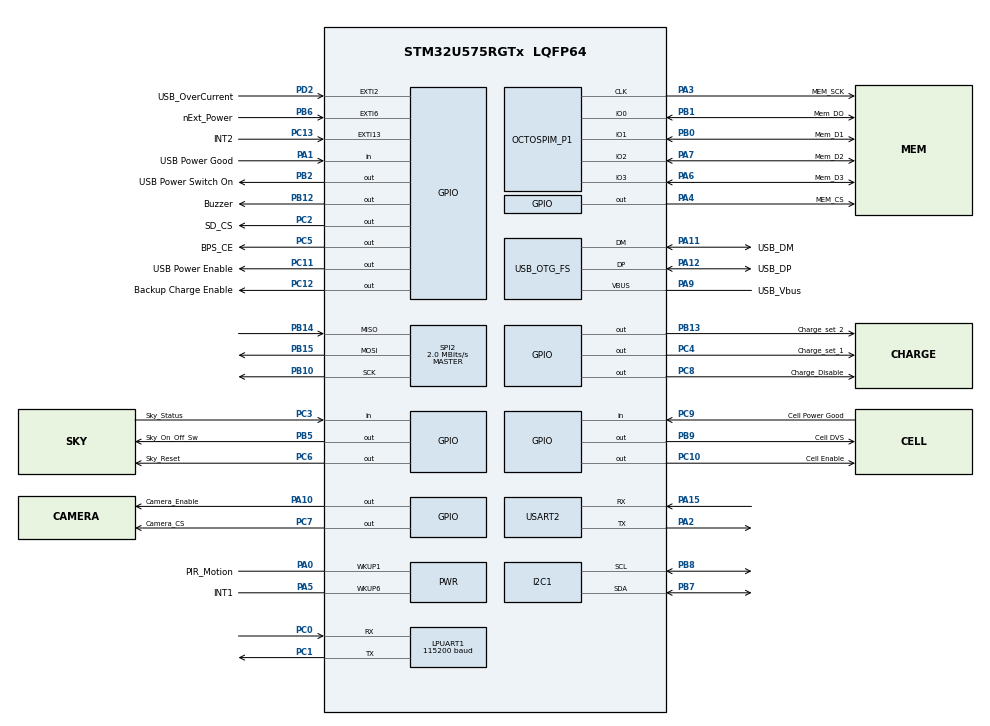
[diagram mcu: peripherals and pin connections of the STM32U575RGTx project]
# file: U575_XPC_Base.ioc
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ADC1.NbrOfConversion=1
ADC1.master=1
CORTEX_M33_NS.userName=CORTEX_M33
I2C1.Timing=0x00000E14
IWDG.Prescaler=IWDG_PRESCALER_1024
LPTIM1.Period=20
LPTIM1.TriggerSource=LPTIM_TRIGSOURCE_SOFTWARE
LPTIM1.UpdateMode=LPTIM_UPDATE_IMMEDIATE
LPTIM3.Period=PIR_Percent_Timer
LPUART1.BaudRate=115200
LPUART1.SwapParam=UART_ADVFEATURE_SWAP_DISABLE
Mcu.Family=STM32U5
Mcu.Name=STM32U575RGTx
Mcu.Package=LQFP64
Mcu.UserConstants=Time_Repetition_CNT,0xFFFF;Date_Day,2;Time_Counter,0x6FF;PIR_CD,3;Date_Minute,0;Time_PRESCALAR_Counter,0x10;Date_Hour,11;Alarm_Value,1;Date_Year,23;PIR_Percent_Timer,0xFF
NVIC.EXTI13_IRQn=true\:0\:0\:false\:false\:true\:true\:true\:true
NVIC.EXTI2_IRQn=true\:0\:0\:false\:false\:true\:true\:true\:true
NVIC.EXTI6_IRQn=true\:0\:0\:false\:false\:true\:true\:true\:true
NVIC.IWDG_IRQn=true\:0\:0\:false\:false\:true\:true\:true\:true
NVIC.LPTIM1_IRQn=true\:0\:0\:false\:false\:true\:true\:true\:true
NVIC.LPTIM2_IRQn=true\:0\:0\:false\:false\:true\:true\:true\:true
NVIC.LPTIM3_IRQn=true\:0\:0\:false\:false\:true\:true\:true\:true
NVIC.LPUART1_IRQn=true\:0\:0\:false\:false\:true\:true\:true\:true
NVIC.PWR_S3WU_IRQn=true\:0\:0\:false\:false\:true\:true\:true\:true
NVIC.PriorityGroup=NVIC_PRIORITYGROUP_4
NVIC.RTC_IRQn=true\:0\:0\:false\:false\:true\:true\:true\:true
PA0.GPIO_Label=PIR_Motion
PA0.Mode=WakeUp1
PA0.Signal=PWR_WKUP1
PA1.GPIO_Label=USB Power Good
PA1.GPIO_PuPd=GPIO_NOPULL
PA1.Signal=GPIO_Input
PA10.GPIO_Label=Camera_Enable
PA10.PinState=GPIO_PIN_SET
PA10.Signal=GPIO_Output
PA11.GPIO_Label=USB_DM
PA11.Mode=Host_Only
PA11.Signal=USB_OTG_FS_DM
PA12.GPIO_Label=USB_DP
PA12.Mode=Host_Only
PA12.Signal=USB_OTG_FS_DP
PA13\ (JTMS/SWDIO).GPIO_Label=SWDIO
PA13\ (JTMS/SWDIO).Mode=Serial_Wire
PA13\ (JTMS/SWDIO).Signal=DEBUG_JTMS-SWDIO
PA14\ (JTCK/SWCLK).GPIO_Label=SWCLK
PA14\ (JTCK/SWCLK).Mode=Serial_Wire
PA14\ (JTCK/SWCLK).Signal=DEBUG_JTCK-SWCLK
PA15\ (JTDI).Mode=Asynchronous
PA15\ (JTDI).Signal=USART2_RX
PA2.Mode=Asynchronous
PA2.Signal=USART2_TX
PA3.GPIO_Label=MEM_SCK
PA3.Mode=O1_P1_CLK
PA3.Signal=OCTOSPIM_P1_CLK
PA4.GPIO_Label=MEM_CS
PA4.GPIO_PuPd=GPIO_NOPULL
PA4.GPIO_Speed=GPIO_SPEED_FREQ_VERY_HIGH
PA4.PinState=GPIO_PIN_SET
PA4.Signal=GPIO_Output
PA5.GPIO_Label=INT1
PA5.Mode=WakeUp6
PA5.Signal=PWR_WKUP6
PA6.GPIO_Label=Mem_D3
PA6.Mode=OCTOSPI1_IOL_Port1L
PA6.Signal=OCTOSPIM_P1_IO3
PA7.GPIO_Label=Mem_D2
PA7.Mode=OCTOSPI1_IOL_Port1L
PA7.Signal=OCTOSPIM_P1_IO2
PA9.GPIO_Label=USB_Vbus
PA9.Mode=Activate_VBUS
PA9.Signal=USB_OTG_FS_VBUS
PB0.GPIO_Label=Mem_D1
PB0.Mode=OCTOSPI1_IOL_Port1L
PB0.Signal=OCTOSPIM_P1_IO1
PB1.GPIO_Label=Mem_DO
PB1.Mode=OCTOSPI1_IOL_Port1L
PB1.Signal=OCTOSPIM_P1_IO0
PB10.GPIO_PuPd=GPIO_PULLDOWN
PB10.GPIO_Speed=GPIO_SPEED_FREQ_HIGH
PB10.Mode=Full_Duplex_Master
PB10.Signal=SPI2_SCK
PB12.GPIO_Label=Buzzer
PB12.GPIO_Speed=GPIO_SPEED_FREQ_MEDIUM
PB12.Signal=GPIO_Output
PB13.GPIO_Label=Charge_set_2
PB13.GPIO_ModeDefaultOutputPP=GPIO_MODE_OUTPUT_OD
PB13.GPIO_PuPd=GPIO_NOPULL
PB13.Signal=GPIO_Output
PB14.GPIO_PuPd=GPIO_NOPULL
PB14.GPIO_Speed=GPIO_SPEED_FREQ_HIGH
PB14.Mode=Full_Duplex_Master
PB14.Signal=SPI2_MISO
PB15.GPIO_PuPd=GPIO_NOPULL
PB15.GPIO_Speed=GPIO_SPEED_FREQ_HIGH
PB15.Mode=Full_Duplex_Master
PB15.Signal=SPI2_MOSI
PB2.GPIO_Label=USB Power Switch On
PB2.GPIO_PuPd=GPIO_PULLDOWN
PB2.PinState=GPIO_PIN_SET
PB2.Signal=GPIO_Output
PB5.GPIO_Label=Sky_On_Off_Sw
PB5.PinState=GPIO_PIN_SET
PB5.Signal=GPIO_Output
PB6.GPIO_Label=nExt_Power
PB6.GPIO_ModeDefaultEXTI=GPIO_MODE_IT_RISING_FALLING
PB6.GPIO_PuPd=GPIO_NOPULL
PB6.Signal=GPXTI6
PB7.Mode=I2C
PB7.Signal=I2C1_SDA
PB8.Mode=I2C
PB8.Signal=I2C1_SCL
PB9.GPIO_FM9=SYSCFG_FASTMODEPLUS_PB9
PB9.GPIO_Label=Cell DVS
PB9.GPIO_PuPd=GPIO_NOPULL
PB9.PinState=GPIO_PIN_RESET
PB9.Signal=GPIO_Output
PC0.Mode=Asynchronous
PC0.Signal=LPUART1_RX
PC1.Mode=Asynchronous
PC1.Signal=LPUART1_TX
PC10.GPIO_Label=Cell Enable
PC10.PinState=GPIO_PIN_SET
PC10.Signal=GPIO_Output
PC11.GPIO_Label=USB Power Enable
PC11.GPIO_ModeDefaultOutputPP=GPIO_MODE_OUTPUT_PP
PC11.GPIO_PuPd=GPIO_NOPULL
PC11.PinState=GPIO_PIN_SET
PC11.Signal=GPIO_Output
PC12.GPIO_Label=Backup Charge Enable
PC12.PinState=GPIO_PIN_SET
PC12.Signal=GPIO_Output
PC13.GPIO_Label=INT2
PC13.Signal=GPXTI13
PC14-OSC32_IN\ (PC14).Mode=LSE-External-Oscillator
PC14-OSC32_IN\ (PC14).Signal=RCC_OSC32_IN
PC15-OSC32_OUT\ (PC15).Mode=LSE-External-Oscillator
PC15-OSC32_OUT\ (PC15).Signal=RCC_OSC32_OUT
PC2.GPIO_Label=SD_CS
PC2.PinState=GPIO_PIN_SET
PC2.Signal=GPIO_Output
PC3.GPIO_Label=Sky_Status
PC3.Signal=GPIO_Input
PC4.GPIO_Label=Charge_set_1
PC4.GPIO_ModeDefaultOutputPP=GPIO_MODE_OUTPUT_OD
PC4.GPIO_PuPd=GPIO_NOPULL
PC4.Signal=GPIO_Output
PC5.GPIO_Label=BPS_CE
PC5.GPIO_PuPd=GPIO_PULLDOWN
PC5.GPIO_Speed=GPIO_SPEED_FREQ_LOW
PC5.Signal=GPIO_Output
PC6.GPIO_Label=Sky_Reset
PC6.Signal=GPIO_Output
PC7.GPIO_Label=Camera_CS
PC7.GPIO_PuPd=GPIO_NOPULL
PC7.GPIO_Speed=GPIO_SPEED_FREQ_HIGH
PC7.PinState=GPIO_PIN_SET
PC7.Signal=GPIO_Output
PC8.GPIO_Label=Charge_Disable
PC8.PinState=GPIO_PIN_SET
PC8.Signal=GPIO_Output
PC9.GPIO_Label=Cell Power Good
PC9.GPIO_PuPd=GPIO_PULLUP
PC9.Signal=GPIO_Input
PD2.GPIO_Label=USB_OverCurrent
PD2.GPIO_ModeDefaultEXTI=GPIO_MODE_IT_FALLING
PD2.GPIO_PuPd=GPIO_PULLUP
PD2.Signal=GPXTI2
PWR.DMA2DPowerDownInStopMode=__NULL
PWR.Dcache1PowerDownInStopMode=__NULL
PWR.IcachePowerDownInStopMode=__NULL
PWR.PKA32RAMPowerDownInStopMode=__NULL
PWR.PeriphPowerDownInStopMode=__NULL
PWR.RAM1Page1PowerDownInStopMode=__NULL
PWR.RAM1Page2PowerDownInStopMode=__NULL
PWR.RAM1Page3PowerDownInStopMode=__NULL
PWR.RAM2Page1PowerDownInStopMode=__NULL
PWR.RAM2Page2PowerDownInStopMode=__NULL
PWR.RAM3Page1PowerDownInStopMode=__NULL
PWR.RAM3Page2PowerDownInStopMode=__NULL
PWR.RAM3Page3PowerDownInStopMode=__NULL
PWR.RAM3Page4PowerDownInStopMode=__NULL
PWR.RAM3Page5PowerDownInStopMode=__NULL
PWR.RAM3Page6PowerDownInStopMode=__NULL
PWR.RAM3Page7PowerDownInStopMode=__NULL
PWR.RAM3Page8PowerDownInStopMode=__NULL
PWR.SRAM4FastDownInRunMode=__NULL
PWR.SRAM4PowerDownInStopMode=__NULL
PWR.pwrPrivilege=PWR_PRIVILEGE_YES
ProjectManager.HeapSize=0x200
ProjectManager.StackSize=0x400
ProjectManager.TargetToolchain=STM32CubeIDE
RCC.ADCFreq_Value=16000000
RCC.DACCLockSelectionVirtual=RCC_DAC1CLKSOURCE_LSI
RCC.EPOD_VALUE=4000000
RCC.HSE_VALUE=16000000
RCC.HSI48_VALUE=48000000
RCC.HSI_VALUE=16000000
RCC.LSIDIV_VALUE=32000
RCC.MSI_VALUE=4000000
RCC.PWR_Regulator_Voltage_Scale=PWR_REGULATOR_VOLTAGE_SCALE3
RCC.USBFreq_Value=48000000
RCC.VCOOutputFreq_Value=516000000
RTC.Alarm-Alarm\ A=RTC_ALARM_A
RTC.AlarmDateWeekDaySel_B-Alarm\ B=RTC_ALARMDATEWEEKDAYSEL_WEEKDAY
RTC.AlarmMaskDateWeekDay-Alarm\ A=RTC_ALARMMASK_DATEWEEKDAY
RTC.AlarmMaskDateWeekDay_B-Alarm\ B=RTC_ALARMMASK_DATEWEEKDAY
RTC.AlarmMaskHours_B-Alarm\ B=RTC_ALARMMASK_HOURS
RTC.AlarmMaskSeconds-Alarm\ A=RTC_ALARMMASK_SECONDS
RTC.Alarm_B-Alarm\ B=RTC_ALARM_B
RTC.Date=30
RTC.Hours_A-Alarm\ A=1
RTC.Minutes=0
RTC.Minutes_A-Alarm\ A=0
RTC.Minutes_B-Alarm\ B=3
RTC.Month=RTC_MONTH_AUGUST
RTC.WeekDay=RTC_WEEKDAY_WEDNESDAY
RTC.Year=23
SPI2.BaudRatePrescaler=SPI_BAUDRATEPRESCALER_2
SPI2.CalculateBaudRate=2.0 MBits/s
SPI2.DataSize=SPI_DATASIZE_8BIT
SPI2.Direction=SPI_DIRECTION_2LINES
SPI2.MasterKeepIOState=SPI_MASTER_KEEP_IO_STATE_ENABLE
SPI2.Mode=SPI_MODE_MASTER
SPI2.NSSPMode=SPI_NSS_PULSE_DISABLE
SPI2.ReadyPolarity=SPI_RDY_POLARITY_LOW
SPI2.VirtualType=VM_MASTER
USART2.VirtualMode-Asynchronous=VM_ASYNC
USB_OTG_FS.VirtualMode=Host_Only
USB_OTG_FS.phy_itface=HCD_PHY_EMBEDDED
VP_ADC1_Vbat_Input.Mode=IN-Vbat
VP_ADC1_Vref_Input.Mode=IN-Vrefint
VP_CRC_VS_CRC.Mode=CRC_Activate
VP_ICACHE_VS_ICACHE.Mode=DirectMappedCache
VP_IWDG_VS_IWDG.Mode=IWDG_Activate
VP_LPBAMQUEUE_VS_QUEUE.Mode=QUEUEMODE
VP_LPBAM_VS_SIG1.Mode=SmartRun
VP_LPBAM_VS_SIG4.Mode=LPDMA1
VP_LPTIM1_VS_LPTIM_counterModeInternalClock.Mode=Counts__internal_clock_event_00
VP_LPTIM2_VS_LPTIM_counterModeInternalClock.Mode=Counts__internal_clock_event_00
VP_LPTIM3_VS_LPTIM_counterModeInternalClock.Mode=Counts__internal_clock_event_00
VP_MEMORYMAP_VS_MEMORYMAP.Mode=CurAppReg
VP_OCTOSPI1_VS_quad.Mode=quad_mode
VP_PWR_VS_DBSignals.Mode=DisableDeadBatterySignals
VP_PWR_VS_LPOM.Mode=PowerOptimisation
VP_PWR_VS_SECSignals.Mode=Security/Privilege
VP_PWR_Vdda.Mode=isolationVdda
VP_RTC_VS_RTC_Activate.Mode=RTC_Enabled
VP_RTC_VS_RTC_Alarm_A_Intern.Mode=Alarm A
VP_RTC_VS_RTC_Alarm_B_Intern.Mode=Alarm B
VP_RTC_VS_RTC_Calendar.Mode=RTC_Calendar
VP_RTC_VS_RTC_WakeUp_intern.Mode=WakeUp
board=custom

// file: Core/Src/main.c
/* USER CODE BEGIN Header */
/**
 ******************************************************************************
 * @file           : main.c
 * @brief          : Main program body
 ******************************************************************************
 * @attention
 *
 * Copyright (c) 2024 STMicroelectronics.
 * All rights reserved.
 *
 * This software is licensed under terms that can be found in the LICENSE file
 * in the root directory of this software component.
 * If no LICENSE file comes with this software, it is provided AS-IS.
 *
 ******************************************************************************
 */
/* USER CODE END Header */
#include "main.h"

/* USER CODE BEGIN Includes */

#include "Functions.h"
#include "Bootloader.h"
#include <stdio.h>
#include <string.h>
/* USER CODE END Includes */

ADC_HandleTypeDef hadc1;

CRC_HandleTypeDef hcrc;

I2C_HandleTypeDef hi2c1;

IWDG_HandleTypeDef hiwdg;

LPTIM_HandleTypeDef hlptim1;
LPTIM_HandleTypeDef hlptim2;
LPTIM_HandleTypeDef hlptim3;

UART_HandleTypeDef hlpuart1;
UART_HandleTypeDef huart2;

OSPI_HandleTypeDef hospi1;

RTC_HandleTypeDef hrtc;

SPI_HandleTypeDef hspi2;

HCD_HandleTypeDef hhcd_USB_OTG_FS;

/* USER CODE BEGIN PV */

MEM_PTR memory;
bool latencyMin = false;
bool cameraPower = false;
extern bool gpsError;
extern bool accelTrigger;
extern bool triggerSource;

/* USER CODE END PV */

void SystemClock_Config(void);
static void SystemPower_Config(void);
void MX_GPIO_Init(void);
void MX_ADC1_Init(void);
void MX_I2C1_Init(void);
void MX_OCTOSPI1_Init(void);
void MX_USART2_UART_Init(void);
void MX_USB_OTG_FS_HCD_Init(void);
void MX_SPI2_Init(void);
void MX_ICACHE_Init(void);
void MX_LPUART1_UART_Init(void);
void MX_IWDG_Init(void);
void MX_RTC_Init(void);
void MX_LPTIM1_Init(void);
void MX_CRC_Init(void);
void MX_LPTIM2_Init(void);
void MX_LPTIM3_Init(void);

/* USER CODE BEGIN 0 */
int buildMesTester ( char *outputBuff , char *inputBuff );
/* USER CODE END 0 */

int main(void)
{

	/* USER CODE BEGIN 1 */

//	int kevin = FLASH_SIZE;
//	int bankSize_maybe = FLASH_BANK_SIZE;
	// 1 megabyte (MB) is equal
	// to 1,024 kilobytes (KB) or 1,048,576 bytes

	// Flash.Image max index is 32511 (0 to 32511)

	// We have approx. 52 packets with 3400 bytes
	// reduce by 1.3 for B64 decode 136 000

	// so we need to either increase Flash.Image or partition out the
	// bootloader code
//
//	uint32_t Addr = ((uint32_t)0x08000000);
//	uint32_t Addr2 = ((uint32_t)0x08080000);
//	uint32_t Page;
//	int bank;
//
//	//	uint32_t GetPage ( uint32_t Addr )
//	//	{
//	if (Addr < (FLASH_BASE + FLASH_BANK_SIZE))
//	{ /* Bank 1 */
//		Page = ((Addr - FLASH_BASE) / FLASH_PAGE_SIZE);
//	}
//	else
//	{ /* Bank 2 */
//		Page = ((Addr - (FLASH_BASE + FLASH_BANK_SIZE)) / FLASH_PAGE_SIZE);
//	}
//	//	}
//	//		uint32_t GetBank ( uint32_t Addr )
//	//		{
//	if (Addr < ADDR_FLASH_PAGE_64)
//	{
//		bank = FLASH_BANK_1;
//	}
//	else if (Addr >= ADDR_FLASH_PAGE_64)
//	{
//		bank =  FLASH_BANK_2;
//	}
//	else
//	{
//		bank =  FLASH_BANK_1;
//	}

	bool codeTest = false;
	if (codeTest)
	{

		//		if (0) // Image
		//		{
		//			//AT+QMTRECV=0
		//			//+QMTRECV: 0,1,"sensors/mobile_device/4522052/downlink","{"type":"image_ack_v0","dev_id":"4522052","img_id":"08_03_2023__00_02_02-219","total_pages":12,"pages_missing":[],"pages_received":[1,2,3,4,5,6,7,8,9,10,11,12]}"
		//
		//			uint8_t recCode [] = "AT+QMTRECV=0\r\n\0+QMTRECV: 0,1,\"sensors/mobile_device/4522052/downlink\",\"{\"type\":\"image_ack_v0\",\"dev_id\":\"4522052\",\"img_id\":\"08_03_2023__00_02_02-219\",\"total_pages\":12,\"pages_missing\":[],\"pages_received\":[1,2,3,4,5,6,7,8,9,10,11,12]}\"";
		//			char testString [1000] = "";
		//			//strncpy(testString, (char*)Memory, receivedDataSize);
		//			// alternatively we can loop around strncpy and look for target
		//			int counter;
		//			int nonNullCounter = 0;
		//			// remove
		//			uint16_t receivedDataSize = 300;
		//			uint16_t resendPages[100];
		//			uint16_t missingPagesCount = 0;
		//			for (counter = 0; counter < receivedDataSize; counter++)
		//			{
		//				if (recCode[counter]!='\0')
		//				{
		//					testString[nonNullCounter]= recCode[counter];
		//					nonNullCounter++;
		//				}
		//			}
		//			// Psudo code
		//			// look for image_ack_v0 version number
		//			// implement switch on version number
		//			// look for pages missing and put [] string into array of uint16_t
		//			bool isError = false;
		//			missingPagesCount = 0;
		//			char target[] = "image_ack_v0";
		//			char *p = strstr(testString, target);
		//			char *missingPages;
		//			if (p)
		//				// string exists
		//				// use strstr to copy missing pages to a string along with the rest of the line
		//				missingPages = strstr(testString, "s_missing");
		//			else
		//			{
		//				// not found
		//				isError = true;
		//				return isError;
		//			}
		//			int start;
		//			int end;
		//			start = strcspn(missingPages, "[");
		//			end = strcspn(missingPages, "]");
		//			char missingList[1000]= "";
		//			int length = end-start;
		//			// check for no pages
		//			if (length==1)
		//			{
		//				// no missing pages
		//				//*numberofMissingPages = 0;
		//				length = 0; // just for breakpoint
		//			}
		//			else
		//			{
		//				// Using strncpy function to copy the substring
		//				strncpy(missingList,missingPages+(start+1),end-start-1);
		//				// now put in array
		//				char* token;
		//				char* rest = missingList;
		//				while ((token = strtok_r(rest, ",", &rest)))
		//				{
		//					resendPages[missingPagesCount] = atoi(token);
		//					missingPagesCount++;
		//				}
		//			}
		//			nonNullCounter++;
		//		}
		//		else  // B64 decoding
		//		{
		//			unsigned char b64Code1 [] = "f0VMRgEBAQAAAAAAAAAAAAIAKAABAAAAHdoACDQAAADQDCcAAAQABTQAIAAEACgAGAAXAAEAAAAAEAAAAAAACAAAAAgs9AEALPQBAAcAAAAAEAAAAQAAAAAQAgAAAAAgLPQBCDwCAAA8AgAABgAAAAAQAAABAAAAQAIAAEACACBo9gEIAAAAAECHAwAGAAAAABAAAAEAAACACQAAgIkDIGj2AQg=";
		//			// text		//"U2Vuc2l0aXZpdHkgZGVzY3JpYmVzIHRoZSBnYWluIG9mIHRoZSBzZW5zb3IgYW5kIGNhbiBiZSBkZXRlcm1pbmVkIGJ5IGFwcGx5aW5nIDEgZyBhY2NlbGVyYXRpb24gdG8gaXQuIEFzIHRoZSBzZW5zb3IgY2FuIG1lYXN1cmUgREMgYWNjZWxlcmF0aW9ucyB0aGlzIGNhbiBiZSBkb25lIGVhc2lseSBieSBwb2ludGluZyB0aGUgYXhpcyBvZiBpbnRlcmVzdCB0b3dhcmRzIHRoZSBjZW50ZXIgb2YgdGhlIEVhcnRoLCBub3RpbmcgdGhlIG91dHB1dCB2YWx1ZSwgcm90YXRpbmcgdGhlIHNlbnNvciBieSAxODAgZGVncmVlcyAocG9pbnRpbmcgdG8gdGhlIHNreSkgYW5kIG5vdGluZyB0aGUgb3V0cHV0IHZhbHVlIGFnYWluLiBCeSBkb2luZyBzbywgwrExIGcgYWNjZWxlcmF0aW9uIGlzIGFwcGxpZWQgdG8gdGhlIHNlbnNvci4gU3VidHJhY3RpbmcgdGhlIGxhcmdlciBvdXRwdXQgdmFsdWUgZnJvbSB0aGUgc21hbGxlciBvbmUsIGFuZCBkaXZpZGluZyB0aGUgcmVzdWx0IGJ5IDIsIGxlYWRzIHRvIHRoZSBhY3R1YWwgc2Vuc2l0aXZpdHkgb2YgdGhlIHNlbnNvci4gVGhpcyB2YWx1ZSBjaGFuZ2VzIHZlcnkgbGl0dGxlIG92ZXIgdGVtcGVyYXR1cmUgYW5kIHRpbWUuIFRoZSBzZW5zaXRpdml0eSB0b2xlcmFuY2UgZGVzY3JpYmVzIHRoZSByYW5nZSBvZiBzZW5zaXRpdml0aWVzIG9mIGEgbGFyZ2UgcG9wdWxhdGlvbiBvZiBzZW5zb3JzLg==";
		//			// hex "f0VMRgEBAQAAAAAAAAAAAAIAKAABAAAAHdoACDQAAADQDCcAAAQABTQAIAAEACgAGAAXAAEAAAAAEAAAAAAACAAAAAgs9AEALPQBAAcAAAAAEAAAAQAAAAAQAgAAAAAgLPQBCDwCAAA8AgAABgAAAAAQAAABAAAAQAIAAEACACBo9gEIAAAAAECHAwAGAAAAABAAAAEAAACACQAAgIkDIGj2AQg="
		//
		//			int lengthB64 = strlen(b64Code1);
		//			unsigned char deCodeString [1000] = "";
		//			size_t decodedLength = 1000;
		//			decodedLength =  onTheFlyDcodeBase64( b64Code1, deCodeString, lengthB64);
		//
		//			//base64_decode ( deCodeString , &decodedLength , (const unsigned char*) b64Code1, 950 );
		//
		//			kevin= (int)decodedLength;
		//
		//		}
	}

	/* USER CODE END 1 */

	/* MCU Configuration--------------------------------------------------------*/

	/* Reset of all peripherals, Initializes the Flash interface and the Systick. */
	HAL_Init();

	/* Configure the system clock */
	SystemClock_Config();

	/* Configure the System Power */
	SystemPower_Config();

	/* USER CODE BEGIN SysInit */

	//PWR->CR1 |= PWR_CR1_LPMS;  // Enable the backup domain

	/* USER CODE END SysInit */

	/* Initialize all configured peripherals */
	MX_GPIO_Init();
	MX_ADC1_Init();
	MX_I2C1_Init();
	MX_OCTOSPI1_Init();
	MX_USART2_UART_Init();
	MX_USB_OTG_FS_HCD_Init();
	MX_SPI2_Init();
	//  MX_ICACHE_Init();
	MX_LPUART1_UART_Init();
	MX_IWDG_Init();
	MX_RTC_Init();
	//  MX_LPTIM1_Init();
	MX_CRC_Init();
	//  MX_LPTIM2_Init();
	//  MX_LPTIM3_Init();
	/* USER CODE BEGIN 2 */

	HAL_Delay ( 3000 ); // kcs moved 3 seconds from main loop to here
	if (codeTest)
	{
		// testing loop
			for (int counter = 0; counter < 40; counter++)
			{
				if(chargeCableReading())
					PRINTF("Plugged in\r\n");
				else
					PRINTF("UnPlugged\r\n");
				HAL_Delay(3000);
				Refresh_Watchdog;
			}

			codeTest = false;

		//	char kevinBuff[20] = {""};
		//	int testing = snprintf(kevinBuff, 20, "123456789012345678901234567890");
		//	PRINTF("%s\r\n",kevinBuff);
		//	testing = sprintf(kevinBuff,"123456789012345678901234567890");
		//	PRINTF("%s\r\n",kevinBuff);

		//	  while (1)
		//	  {
		//		     HAL_PWR_EnableBkUpAccess();
		//		    __HAL_RCC_PWR_CLK_ENABLE();
		//		     __HAL_RCC_RTC_CONFIG(RCC_RTCCLKSOURCE_LSE);
		//		     __HAL_RCC_RTC_ENABLE();
		//
		// 	      HAL_GPIO_WritePin(GPIOB, GPIO_PIN_12, GPIO_PIN_SET);
		//	      HAL_Delay(1000);
		//	      HAL_GPIO_WritePin(GPIOB, GPIO_PIN_12, GPIO_PIN_RESET);
		//
		//
		//	      HAL_RTCEx_SetWakeUpTimer_IT(&hrtc, 0x1803, RTC_WAKEUPCLOCK_RTCCLK_DIV16, 0);
		//
		//			if (__HAL_RTC_GET_FLAG(&hrtc, RTC_FLAG_WUTF))
		//					{
		//				PRINTF("pluggington\r\n");
		//
		//					}
		//
		//		      HAL_RTCEx_DeactivateWakeUpTimer(&hrtc);
		//				__HAL_RTC_CLEAR_FLAG(&hrtc,RTC_CLEAR_WUTF );
		//				__HAL_RTC_WAKEUPTIMER_CLEAR_FLAG(&hrtc,RTC_CLEAR_WUTF );
		//
		//				if (__HAL_RTC_GET_FLAG(&hrtc, RTC_FLAG_WUTF))
		//						{
		//					PRINTF("pluggington\r\n");
		//
		//						}
		//
		//          HAL_SuspendTick();
		//
		//	      /* Enter STOP 2 mode */
		//			HAL_PWREx_EnableUltraLowPowerMode ();
		//	        HAL_NVIC_EnableIRQ(RTC_IRQn);
		//
		//	      HAL_PWREx_EnterSTOP3Mode(PWR_STOPENTRY_WFE);
		//	      HAL_RTCEx_DeactivateWakeUpTimer(&hrtc);
		//	      SystemClock_Config();
		//	      MX_GPIO_Init();
		//	      MX_RTC_Init();
		//
		//
		//	   HAL_ResumeTick();
		//	  }
	}

#ifdef DEV_INIT

	//buzzerTone();  //for production testing we will need a buzzer function

	//	HAL_NVIC_DisableIRQ ( PIR_EXTI_IRQn );	// Turn off event
	//Need to add FW version KCS

	/* Clears Memory for Use */
	PACKAGE_Init(&memory);

	char fwVersion[] = "XPM_Rev3_V1.0.2";

	// KCS change this in future to some sort of preprogrammed memory
	PRINTF("Firmware version is %s\r\n",fwVersion);

	//	Boot Bank
	memory.Flash.currentFlashBank = getSwapBank();
	PRINTF("Current Program Bank is %d\r\n",(uint8_t)memory.Flash.currentFlashBank );

	bool connorTest = false;
	if(connorTest)
	{
		//		TIME_DATE_TYPE current;
		//		TIME_DATE_TYPE stop;
		//		calculateNextTime(&current, &stop, 7200);
		//		uint32_t diff = getTimeDifference(current, stop);
		//		PRINTF("Time difference: %u\r\n", diff);
		//		HAL_Delay(20000);
		//		uint16_t diffNow = getTimeFromNow(stop);
		//		PRINTF("Time difference from now: %u\r\n", diffNow);
	}

	/* Initializes Device Logger */
#ifdef Log
	LOG_Init ();
	Log_Single ( LOG_START );
#endif // Log

	//	Disable_Extra_Power ( &memory );
	/* Initializes Any Component Connected */
	Component_Initalizer ( &memory );

	//	if (latencyMin)
	//	{
	//		Enable_Modem (&memory);
	//		memory.Init_Flags = CELL_INIT;
	//		Component_Initalizer ( &memory );
	//	}

	//	int memoryTest = 0;
	//	if (memoryTest)
	//	{
	//		memoryTest1(&memory ); // set all to 0x11
	//
	//		XPS_paramStore(&memory);
	//
	//		memoryTest2(&memory ); // set all to 0xf
	//
	//		XPS_paramRetrieve(&memory);
	//
	//	}

	if (isWaitingforOTA( &memory))
	{
		Enable_Modem(&memory);
		PRINTF("Waiting For OTA\r\n");
		setOTAfwAvailable(false); // clear OTA
		// call OTA process
		processQuickOTA( &memory );
	}

	Enable_Modem(&memory);
	PRINTF("Device configuration sending to server\r\n");
	sendDeviceConfig(&memory, BOOT);
	Clear_Memory(&memory);
	triggerSource = true;
	HAL_Delay(3000);
	if(gpsError)
	{
		PRINTF("GPS error, sending diagnostic to server\r\n");
		sendDiagnostic(&memory, "\"gps\":[\"time_sync_failed\",\"unknown_location\"]");
		//sendDiagnostic(&memory, "\"time_sync_failed\",\"unknown_location\"");

	}
// KCS Diagnostic message testing
//	Refresh_Watchdog;
//	sendBatteryStatus(BAT_FULL);
//	Refresh_Watchdog;
//	sendBatteryStatus(BAT_CHARGING);
//	Refresh_Watchdog;
//	sendBatteryStatus(CHARGER_UNPLUGGED);
//	Refresh_Watchdog;
//	sendBatteryStatus(6);
//	Refresh_Watchdog;

#ifdef EXTERNAL_XPS_STORAGE
	//	XPS_DATA_Init ( &memory , &XPS );
#endif // EXTERNAL_XPS_STORAGE

#ifndef BUZZER
	HAL_GPIO_TogglePin ( Buzzer_GPIO_Port , Buzzer_Pin );
	HAL_Delay ( BUZZER_TIME );
	HAL_GPIO_TogglePin ( Buzzer_GPIO_Port , Buzzer_Pin );
#endif
#endif  // DEV_INIT

	/* USER CODE END 2 */

	/* Infinite loop */
	/* USER CODE BEGIN WHILE */
	while (1)
	{ /* IWDG Timer Restart */
		Refresh_Watchdog;

		HAL_Delay ( 2000 );
		//		memory.State = WAKE_STATE + PIC_UPDT + PIC_SAVE + BUZZER_TOGGLE;
		//		memory.State = WAKE_STATE + PIC_UPDT + PIC_SAVE + UPDATE_SERVER + PIC_SEND + BUZZER_TOGGLE;
		//		memory.State = SLEEP_STATE + PIC_UPDT + PIC_SAVE + UPDATE_SERVER + PIC_SEND + BUZZER_TOGGLE;

		Refresh_Watchdog;

		if (Dev_Mode == DEV_Mode_A || Dev_Mode == DEV_Mode_C)
		{ /* Check if any Flag has Triggered */
			Update_State ( &memory );
		}

		if (Dev_Mode == DEV_Mode_B)
		{ /* Initializes Any Component at Fault */
			Component_Initalizer ( &memory );
			Dev_Mode = Dev_Prev_Mode;
		}

		/* USER CODE END WHILE */

	}
}

void SystemClock_Config(void)
{
	RCC_OscInitTypeDef RCC_OscInitStruct = {0};
	RCC_ClkInitTypeDef RCC_ClkInitStruct = {0};

	/** Configure the main internal regulator output voltage
	 */
	if (HAL_PWREx_ControlVoltageScaling(PWR_REGULATOR_VOLTAGE_SCALE3) != HAL_OK)
	{
		Error_Handler();
	}

	/** Initializes the CPU, AHB and APB buses clocks
	 */

	RCC_OscInitStruct.OscillatorType = 	RCC_OSCILLATORTYPE_LSE;
	RCC_OscInitStruct.LSEState = RCC_LSE_ON;
	//	RCC_OscInitStruct.OscillatorType = RCC_OSCILLATORTYPE_HSI48|RCC_OSCILLATORTYPE_HSI
	//			|RCC_OSCILLATORTYPE_LSI|RCC_OSCILLATORTYPE_MSI
	//			|RCC_OSCILLATORTYPE_MSIK;
	//	RCC_OscInitStruct.HSIState = RCC_HSI_ON;
	//	RCC_OscInitStruct.HSI48State = RCC_HSI48_ON;
	//	RCC_OscInitStruct.HSICalibrationValue = RCC_HSICALIBRATION_DEFAULT;
	//	RCC_OscInitStruct.LSIState = RCC_LSI_ON;
	//	RCC_OscInitStruct.MSIState = RCC_MSI_ON;
	//	RCC_OscInitStruct.MSICalibrationValue = RCC_MSICALIBRATION_DEFAULT;
	//	RCC_OscInitStruct.MSIClockRange = RCC_MSIRANGE_4;
	//	RCC_OscInitStruct.LSIDiv = RCC_LSI_DIV1;
	//	RCC_OscInitStruct.MSIKClockRange = RCC_MSIKRANGE_4;
	//	RCC_OscInitStruct.MSIKState = RCC_MSIK_ON;
	//	RCC_OscInitStruct.PLL.PLLState = RCC_PLL_NONE;
	if (HAL_RCC_OscConfig(&RCC_OscInitStruct) != HAL_OK)
	{
		Error_Handler();
	}

	/** Initializes the CPU, AHB and APB buses clocks
	 */
	RCC_ClkInitStruct.ClockType = RCC_CLOCKTYPE_HCLK|RCC_CLOCKTYPE_SYSCLK
			|RCC_CLOCKTYPE_PCLK1|RCC_CLOCKTYPE_PCLK2
			|RCC_CLOCKTYPE_PCLK3;
	RCC_ClkInitStruct.SYSCLKSource = RCC_SYSCLKSOURCE_MSI;
	RCC_ClkInitStruct.AHBCLKDivider = RCC_SYSCLK_DIV1;
	RCC_ClkInitStruct.APB1CLKDivider = RCC_HCLK_DIV1;
	RCC_ClkInitStruct.APB2CLKDivider = RCC_HCLK_DIV1;
	RCC_ClkInitStruct.APB3CLKDivider = RCC_HCLK_DIV1;

	if (HAL_RCC_ClockConfig(&RCC_ClkInitStruct, FLASH_LATENCY_0) != HAL_OK)
	{
		Error_Handler();
	}

	/** Enable the force of MSIK in stop mode
	 */
	//	__HAL_RCC_MSIKSTOP_ENABLE();
}

/**
 * @brief Power Configuration
 * @retval None
 */
static void SystemPower_Config(void)
{
	/*
	 * Disable the internal Pull-Up in Dead Battery pins of UCPD peripheral
	 */
	HAL_PWREx_DisableUCPDDeadBattery();

	/*
	 * PWR Privilege Configuration
	 */
	HAL_PWR_ConfigAttributes(PWR_ALL, PWR_NSEC_PRIV);
	/* PWR_S3WU_IRQn interrupt configuration */
	// Critical do not change
	HAL_NVIC_SetPriority(PWR_S3WU_IRQn, 1, 0);
	HAL_NVIC_EnableIRQ(PWR_S3WU_IRQn);
	/* USER CODE BEGIN PWR */
	//  HAL_NVIC_SetPriority(RTC_IRQn, 0, 0);
	//  HAL_NVIC_EnableIRQ(RTC_IRQn);
	/* USER CODE END PWR */
}

void MX_ADC1_Init(void)
{

	/** Common config
	 */
	hadc1.Instance = ADC1;
	hadc1.Init.ClockPrescaler = ADC_CLOCK_ASYNC_DIV1;
	hadc1.Init.Resolution = ADC_RESOLUTION_12B;
	hadc1.Init.GainCompensation = 0;
	hadc1.Init.ScanConvMode = ADC_SCAN_DISABLE;
	hadc1.Init.EOCSelection = ADC_EOC_SINGLE_CONV;
	hadc1.Init.LowPowerAutoWait = DISABLE;
	hadc1.Init.ContinuousConvMode = DISABLE;
	hadc1.Init.NbrOfConversion = 1;
	hadc1.Init.DiscontinuousConvMode = DISABLE;
	hadc1.Init.DMAContinuousRequests = DISABLE;
	hadc1.Init.TriggerFrequencyMode = ADC_TRIGGER_FREQ_HIGH;
	hadc1.Init.Overrun = ADC_OVR_DATA_PRESERVED;
	hadc1.Init.LeftBitShift = ADC_LEFTBITSHIFT_NONE;
	hadc1.Init.ConversionDataManagement = ADC_CONVERSIONDATA_DR;
	hadc1.Init.OversamplingMode = DISABLE;
	if (HAL_ADC_Init(&hadc1) != HAL_OK)
	{
		Error_Handler();
	}
	/* USER CODE BEGIN ADC1_Init 2 */
	ADC_ChannelConfTypeDef sConfig = {0};

	sConfig.Channel = ADC_CHANNEL_VREFINT;
	sConfig.Rank = ADC_REGULAR_RANK_1;
	sConfig.SamplingTime = ADC_SAMPLETIME_391CYCLES;
	sConfig.Offset = 0;
	HAL_ADC_ConfigChannel(&hadc1, &sConfig);

	/* USER CODE END ADC1_Init 2 */
}

void MX_CRC_Init(void)
{

	hcrc.Instance = CRC;
	hcrc.Init.DefaultPolynomialUse = DEFAULT_POLYNOMIAL_ENABLE;
	hcrc.Init.DefaultInitValueUse = DEFAULT_INIT_VALUE_ENABLE;
	hcrc.Init.InputDataInversionMode = CRC_INPUTDATA_INVERSION_NONE;
	hcrc.Init.OutputDataInversionMode = CRC_OUTPUTDATA_INVERSION_DISABLE;
	hcrc.InputDataFormat = CRC_INPUTDATA_FORMAT_BYTES;
	if (HAL_CRC_Init(&hcrc) != HAL_OK)
	{
		Error_Handler();
	}
}
void MX_I2C1_Init(void)
{

	hi2c1.Instance = I2C1;
	hi2c1.Init.Timing = 0x00000E14;
	hi2c1.Init.OwnAddress1 = 0;
	hi2c1.Init.AddressingMode = I2C_ADDRESSINGMODE_7BIT;
	hi2c1.Init.DualAddressMode = I2C_DUALADDRESS_DISABLE;
	hi2c1.Init.OwnAddress2 = 0;
	hi2c1.Init.OwnAddress2Masks = I2C_OA2_NOMASK;
	hi2c1.Init.GeneralCallMode = I2C_GENERALCALL_DISABLE;
	hi2c1.Init.NoStretchMode = I2C_NOSTRETCH_DISABLE;
	if (HAL_I2C_Init(&hi2c1) != HAL_OK)
	{
		Error_Handler();
	}

	/** Configure Analogue filter
	 */
	if (HAL_I2CEx_ConfigAnalogFilter(&hi2c1, I2C_ANALOGFILTER_ENABLE) != HAL_OK)
	{
		Error_Handler();
	}

	/** Configure Digital filter
	 */
	if (HAL_I2CEx_ConfigDigitalFilter(&hi2c1, 0) != HAL_OK)
	{
		Error_Handler();
	}

}

void MX_ICACHE_Init(void)
{

	/** Enable instruction cache in 1-way (direct mapped cache)
	 */
	if (HAL_ICACHE_ConfigAssociativityMode(ICACHE_1WAY) != HAL_OK)
	{
		Error_Handler();
	}
	if (HAL_ICACHE_Enable() != HAL_OK)
	{
		Error_Handler();
	}
}

void MX_IWDG_Init(void)
{

	hiwdg.Instance = IWDG;
	hiwdg.Init.Prescaler = IWDG_PRESCALER_1024;
	hiwdg.Init.Window = 4095;
	hiwdg.Init.Reload = 4095;
	hiwdg.Init.EWI = 0;
	if (HAL_IWDG_Init(&hiwdg) != HAL_OK)
	{
		Error_Handler();
	}
}

void MX_LPTIM1_Init(void)
{

	hlptim1.Instance = LPTIM1;
	hlptim1.Init.Clock.Source = LPTIM_CLOCKSOURCE_APBCLOCK_LPOSC;
	hlptim1.Init.Clock.Prescaler = LPTIM_PRESCALER_DIV1;
	hlptim1.Init.Trigger.Source = LPTIM_TRIGSOURCE_SOFTWARE;
	hlptim1.Init.Period = 20;
	hlptim1.Init.UpdateMode = LPTIM_UPDATE_IMMEDIATE;
	hlptim1.Init.CounterSource = LPTIM_COUNTERSOURCE_INTERNAL;
	hlptim1.Init.Input1Source = LPTIM_INPUT1SOURCE_GPIO;
	hlptim1.Init.Input2Source = LPTIM_INPUT2SOURCE_GPIO;
	hlptim1.Init.RepetitionCounter = 0;
	if (HAL_LPTIM_Init(&hlptim1) != HAL_OK)
	{
		Error_Handler();
	}
}

void MX_LPTIM2_Init(void)
{

	hlptim2.Instance = LPTIM2;
	hlptim2.Init.Clock.Source = LPTIM_CLOCKSOURCE_APBCLOCK_LPOSC;
	hlptim2.Init.Clock.Prescaler = LPTIM_PRESCALER_DIV1;
	hlptim2.Init.Trigger.Source = LPTIM_TRIGSOURCE_SOFTWARE;
	hlptim2.Init.Period = 65535;
	hlptim2.Init.UpdateMode = LPTIM_UPDATE_IMMEDIATE;
	hlptim2.Init.CounterSource = LPTIM_COUNTERSOURCE_INTERNAL;
	hlptim2.Init.Input1Source = LPTIM_INPUT1SOURCE_GPIO;
	hlptim2.Init.Input2Source = LPTIM_INPUT2SOURCE_GPIO;
	hlptim2.Init.RepetitionCounter = 0;
	if (HAL_LPTIM_Init(&hlptim2) != HAL_OK)
	{
		Error_Handler();
	}
}

void MX_LPTIM3_Init(void)
{

	hlptim3.Instance = LPTIM3;
	hlptim3.Init.Clock.Source = LPTIM_CLOCKSOURCE_APBCLOCK_LPOSC;
	hlptim3.Init.Clock.Prescaler = LPTIM_PRESCALER_DIV1;
	hlptim3.Init.Trigger.Source = LPTIM_TRIGSOURCE_SOFTWARE;
	hlptim3.Init.Period = PIR_Percent_Timer;
	hlptim3.Init.UpdateMode = LPTIM_UPDATE_IMMEDIATE;
	hlptim3.Init.CounterSource = LPTIM_COUNTERSOURCE_INTERNAL;
	hlptim3.Init.Input1Source = LPTIM_INPUT1SOURCE_GPIO;
	hlptim3.Init.Input2Source = LPTIM_INPUT2SOURCE_GPIO;
	hlptim3.Init.RepetitionCounter = 0;
	if (HAL_LPTIM_Init(&hlptim3) != HAL_OK)
	{
		Error_Handler();
	}
}

void MX_LPUART1_UART_Init(void)
{

	hlpuart1.Instance = LPUART1;
	hlpuart1.Init.BaudRate = 115200;
	hlpuart1.Init.WordLength = UART_WORDLENGTH_8B;
	hlpuart1.Init.StopBits = UART_STOPBITS_1;
	hlpuart1.Init.Parity = UART_PARITY_NONE;
	hlpuart1.Init.Mode = UART_MODE_TX_RX;
	hlpuart1.Init.HwFlowCtl = UART_HWCONTROL_NONE;
	hlpuart1.Init.OverSampling = UART_OVERSAMPLING_16;
	//hlpuart1.Init.OneBitSampling = UART_ONE_BIT_SAMPLE_DISABLE;
	//hlpuart1.AdvancedInit.AdvFeatureInit = UART_ADVFEATURE_NO_INIT;
	//hlpuart1.FifoMode = UART_FIFOMODE_DISABLE;
	if (HAL_UART_Init(&hlpuart1) != HAL_OK)
	{
		Error_Handler();
	}
	if (HAL_UARTEx_SetTxFifoThreshold(&hlpuart1, UART_TXFIFO_THRESHOLD_1_8) != HAL_OK)
	{
		Error_Handler();
	}
	if (HAL_UARTEx_SetRxFifoThreshold(&hlpuart1, UART_RXFIFO_THRESHOLD_1_8) != HAL_OK)
	{
		Error_Handler();
	}
	if (HAL_UARTEx_DisableFifoMode(&hlpuart1) != HAL_OK)
	{
		Error_Handler();
	}
}

void MX_USART2_UART_Init(void)
{

	huart2.Instance = USART2;
	huart2.Init.BaudRate = 115200;
	huart2.Init.WordLength = UART_WORDLENGTH_8B;
	huart2.Init.StopBits = UART_STOPBITS_1;
	huart2.Init.Parity = UART_PARITY_NONE;
	huart2.Init.Mode = UART_MODE_TX_RX;
	huart2.Init.HwFlowCtl = UART_HWCONTROL_NONE;
	huart2.Init.OverSampling = UART_OVERSAMPLING_16;
	huart2.Init.OneBitSampling = UART_ONE_BIT_SAMPLE_DISABLE;
	huart2.Init.ClockPrescaler = UART_PRESCALER_DIV1;
	huart2.AdvancedInit.AdvFeatureInit = UART_ADVFEATURE_NO_INIT;
	if (HAL_UART_Init(&huart2) != HAL_OK)
	{
		Error_Handler();
	}
	if (HAL_UARTEx_SetTxFifoThreshold(&huart2, UART_TXFIFO_THRESHOLD_1_8) != HAL_OK)
	{
		Error_Handler();
	}
	if (HAL_UARTEx_SetRxFifoThreshold(&huart2, UART_RXFIFO_THRESHOLD_1_8) != HAL_OK)
	{
		Error_Handler();
	}
	if (HAL_UARTEx_DisableFifoMode(&huart2) != HAL_OK)
	{
		Error_Handler();
	}
}

void MX_OCTOSPI1_Init(void)
{

	OSPIM_CfgTypeDef sOspiManagerCfg = {0};
	HAL_OSPI_DLYB_CfgTypeDef HAL_OSPI_DLYB_Cfg_Struct = {0};

	/* OCTOSPI1 parameter configuration*/
	hospi1.Instance = OCTOSPI1;
	hospi1.Init.FifoThreshold = 1;
	hospi1.Init.DualQuad = HAL_OSPI_DUALQUAD_DISABLE;
	hospi1.Init.MemoryType = HAL_OSPI_MEMTYPE_MICRON;
	hospi1.Init.DeviceSize = 24;
	hospi1.Init.ChipSelectHighTime = 1;
	hospi1.Init.FreeRunningClock = HAL_OSPI_FREERUNCLK_DISABLE;
	hospi1.Init.ClockMode = HAL_OSPI_CLOCK_MODE_0;
	hospi1.Init.WrapSize = HAL_OSPI_WRAP_NOT_SUPPORTED;
	hospi1.Init.ClockPrescaler = 1;
	hospi1.Init.SampleShifting = HAL_OSPI_SAMPLE_SHIFTING_NONE;
	hospi1.Init.DelayHoldQuarterCycle = HAL_OSPI_DHQC_DISABLE;
	hospi1.Init.ChipSelectBoundary = 0;
	hospi1.Init.DelayBlockBypass = HAL_OSPI_DELAY_BLOCK_BYPASSED;
	hospi1.Init.MaxTran = 0;
	hospi1.Init.Refresh = 0;
	if (HAL_OSPI_Init(&hospi1) != HAL_OK)
	{
		Error_Handler();
	}
	sOspiManagerCfg.ClkPort = 1;
	sOspiManagerCfg.IOLowPort = HAL_OSPIM_IOPORT_1_LOW;
	if (HAL_OSPIM_Config(&hospi1, &sOspiManagerCfg, HAL_OSPI_TIMEOUT_DEFAULT_VALUE) != HAL_OK)
	{
		Error_Handler();
	}
	HAL_OSPI_DLYB_Cfg_Struct.Units = 0;
	HAL_OSPI_DLYB_Cfg_Struct.PhaseSel = 0;
	if (HAL_OSPI_DLYB_SetConfig(&hospi1, &HAL_OSPI_DLYB_Cfg_Struct) != HAL_OK)
	{
		Error_Handler();
	}
}

void MX_RTC_Init( void )
{

	RTC_PrivilegeStateTypeDef privilegeState = {0};
	RTC_TimeTypeDef sTime = {0};
	RTC_DateTypeDef sDate = {0};
	RTC_AlarmTypeDef sAlarm = {0};

	/** Initialize RTC Only
	 */
	hrtc.Instance = RTC;
	hrtc.Init.HourFormat = RTC_HOURFORMAT_24;
	hrtc.Init.AsynchPrediv = 127;
	hrtc.Init.SynchPrediv = 255;
	hrtc.Init.OutPut = RTC_OUTPUT_DISABLE;
	hrtc.Init.OutPutPolarity = RTC_OUTPUT_POLARITY_HIGH;
	hrtc.Init.OutPutType = RTC_OUTPUT_TYPE_OPENDRAIN;
	hrtc.Init.OutPutPullUp = RTC_OUTPUT_PULLUP_NONE;
	hrtc.Init.BinMode = RTC_BINARY_NONE;
	if (HAL_RTC_Init(&hrtc) != HAL_OK)
	{
		Error_Handler();
	}
	privilegeState.rtcPrivilegeFull = RTC_PRIVILEGE_FULL_NO;
	//privilegeState.rtcPrivilegeFeatures = RTC_PRIVILEGE_FEATURE_WUT;
	privilegeState.backupRegisterPrivZone = RTC_PRIVILEGE_BKUP_ZONE_NONE;
	privilegeState.backupRegisterStartZone2 = RTC_BKP_DR0;
	privilegeState.backupRegisterStartZone3 = RTC_BKP_DR0;
	if (HAL_RTCEx_PrivilegeModeSet(&hrtc, &privilegeState) != HAL_OK)
	{
		Error_Handler();
	}

	/** Initialize RTC and set the Time and Date
	 */
	sTime.Hours = 0x23;
	sTime.Minutes = 0x0;
	sTime.Seconds = 0x0;
	sTime.DayLightSaving = RTC_DAYLIGHTSAVING_NONE;
	sTime.StoreOperation = RTC_STOREOPERATION_RESET;
	if (HAL_RTC_SetTime(&hrtc, &sTime, RTC_FORMAT_BCD) != HAL_OK)
	{
		Error_Handler();
	}
	sDate.WeekDay = RTC_WEEKDAY_WEDNESDAY;
	sDate.Month = RTC_MONTH_AUGUST;
	sDate.Date = 0x31;
	sDate.Year = 0x23;
	if (HAL_RTC_SetDate(&hrtc, &sDate, RTC_FORMAT_BCD) != HAL_OK)
	{
		Error_Handler();
	}

	/** Enable the Alarm A
	 */
	sAlarm.AlarmTime.Hours = 0x08;  //GAv changed for testing
	sAlarm.AlarmTime.Minutes = 0x00;  //GAV changed for testing
	sAlarm.AlarmTime.Seconds = 0x0;
	sAlarm.AlarmTime.SubSeconds = 0x0;
	sAlarm.AlarmMask = RTC_ALARMMASK_DATEWEEKDAY|RTC_ALARMMASK_SECONDS|RTC_ALARMMASK_MINUTES;  //GAV changed for testing
	sAlarm.AlarmSubSecondMask = RTC_ALARMSUBSECONDMASK_ALL;
	sAlarm.AlarmDateWeekDaySel = RTC_ALARMDATEWEEKDAYSEL_DATE;
	sAlarm.AlarmDateWeekDay = 0x1;
	sAlarm.Alarm = RTC_ALARM_A;
	if (HAL_RTC_SetAlarm_IT(&hrtc, &sAlarm, RTC_FORMAT_BCD) != HAL_OK)
	{
		Error_Handler();
	}

	/** Enable the Alarm B
	 */
	sAlarm.AlarmTime.Hours = 0x0;
	sAlarm.AlarmTime.Minutes = 0x3;
	sAlarm.AlarmMask = RTC_ALARMMASK_DATEWEEKDAY|RTC_ALARMMASK_HOURS;
	sAlarm.AlarmDateWeekDaySel = RTC_ALARMDATEWEEKDAYSEL_WEEKDAY;
	sAlarm.AlarmDateWeekDay = RTC_WEEKDAY_MONDAY;
	sAlarm.Alarm = RTC_ALARM_B;
	if (HAL_RTC_SetAlarm_IT(&hrtc, &sAlarm, RTC_FORMAT_BCD) != HAL_OK)
	{
		Error_Handler();
	}
	if (HAL_RTCEx_SetWakeUpTimer_IT(&hrtc, 0, RTC_WAKEUPCLOCK_RTCCLK_DIV16, 0) != HAL_OK)
	{
		Error_Handler();
	}
	/* USER CODE BEGIN RTC_Init 2 */
	HAL_RTC_DeactivateAlarm ( &hrtc , RTC_ALARM_B );
	/* USER CODE END RTC_Init 2 */

}

void MX_SPI2_Init(void)
{

	SPI_AutonomousModeConfTypeDef HAL_SPI_AutonomousMode_Cfg_Struct = {0};

	/* SPI2 parameter configuration*/
	hspi2.Instance = SPI2;
	hspi2.Init.Mode = SPI_MODE_MASTER;
	hspi2.Init.Direction = SPI_DIRECTION_2LINES;
	hspi2.Init.DataSize = SPI_DATASIZE_8BIT;
	hspi2.Init.CLKPolarity = SPI_POLARITY_LOW;
	hspi2.Init.CLKPhase = SPI_PHASE_1EDGE;
	hspi2.Init.NSS = SPI_NSS_SOFT;
	hspi2.Init.BaudRatePrescaler = SPI_BAUDRATEPRESCALER_2;
	hspi2.Init.FirstBit = SPI_FIRSTBIT_MSB;
	hspi2.Init.TIMode = SPI_TIMODE_DISABLE;
	hspi2.Init.CRCCalculation = SPI_CRCCALCULATION_DISABLE;
	hspi2.Init.CRCPolynomial = 0x7;
	hspi2.Init.NSSPMode = SPI_NSS_PULSE_DISABLE;
	hspi2.Init.NSSPolarity = SPI_NSS_POLARITY_LOW;
	hspi2.Init.FifoThreshold = SPI_FIFO_THRESHOLD_01DATA;
	hspi2.Init.MasterSSIdleness = SPI_MASTER_SS_IDLENESS_00CYCLE;
	hspi2.Init.MasterInterDataIdleness = SPI_MASTER_INTERDATA_IDLENESS_00CYCLE;
	hspi2.Init.MasterReceiverAutoSusp = SPI_MASTER_RX_AUTOSUSP_DISABLE;
	hspi2.Init.MasterKeepIOState = SPI_MASTER_KEEP_IO_STATE_ENABLE;
	hspi2.Init.IOSwap = SPI_IO_SWAP_DISABLE;
	hspi2.Init.ReadyMasterManagement = SPI_RDY_MASTER_MANAGEMENT_INTERNALLY;
	hspi2.Init.ReadyPolarity = SPI_RDY_POLARITY_LOW;
	if (HAL_SPI_Init(&hspi2) != HAL_OK)
	{
		Error_Handler();
	}
	HAL_SPI_AutonomousMode_Cfg_Struct.TriggerState = SPI_AUTO_MODE_DISABLE;
	HAL_SPI_AutonomousMode_Cfg_Struct.TriggerSelection = SPI_GRP1_GPDMA_CH0_TCF_TRG;
	HAL_SPI_AutonomousMode_Cfg_Struct.TriggerPolarity = SPI_TRIG_POLARITY_RISING;
	if (HAL_SPIEx_SetConfigAutonomousMode(&hspi2, &HAL_SPI_AutonomousMode_Cfg_Struct) != HAL_OK)
	{
		Error_Handler();
	}

}

void MX_USB_OTG_FS_HCD_Init(void)
{

	hhcd_USB_OTG_FS.Instance = USB_OTG_FS;
	hhcd_USB_OTG_FS.Init.Host_channels = 12;
	hhcd_USB_OTG_FS.Init.speed = HCD_SPEED_FULL;
	hhcd_USB_OTG_FS.Init.dma_enable = DISABLE;
	hhcd_USB_OTG_FS.Init.phy_itface = HCD_PHY_EMBEDDED;
	hhcd_USB_OTG_FS.Init.Sof_enable = DISABLE;
	hhcd_USB_OTG_FS.Init.vbus_sensing_enable = DISABLE;
	if (HAL_HCD_Init(&hhcd_USB_OTG_FS) != HAL_OK)
	{
		Error_Handler();
	}

}

void MX_GPIO_Init(void)
{
	GPIO_InitTypeDef GPIO_InitStruct = {0};
	/* USER CODE BEGIN MX_GPIO_Init_1 */
	GPIO_InitStruct.Pin = PIR_Motion_Pin;
	GPIO_InitStruct.Mode = GPIO_MODE_INPUT;
	GPIO_InitStruct.Pull = GPIO_NOPULL;
	HAL_GPIO_Init(PIR_Motion_GPIO_Port, &GPIO_InitStruct);
	/* USER CODE END MX_GPIO_Init_1 */

	/* GPIO Ports Clock Enable */
	__HAL_RCC_GPIOC_CLK_ENABLE();
	__HAL_RCC_GPIOA_CLK_ENABLE();
	__HAL_RCC_GPIOB_CLK_ENABLE();
	__HAL_RCC_GPIOD_CLK_ENABLE();

	/*Configure GPIO pin Output Level */
	HAL_GPIO_WritePin(GPIOC, SD_CS_Pin|Camera_CS_Pin|Cell_Enable_Pin
			|USB_Power_Enable_Pin|Backup_Charge_Enable_Pin, GPIO_PIN_SET);

	/*Configure GPIO pin Output Level */
	HAL_GPIO_WritePin(GPIOA, MEM_CS_Pin|Camera_Enable_Pin, GPIO_PIN_SET);

	/*Configure GPIO pin Output Level */
	HAL_GPIO_WritePin(GPIOC, Charge_set_1_Pin|BPS_CE_Pin|Charge_Disable_Pin|Sky_Reset_Pin, GPIO_PIN_RESET);

	/*Configure GPIO pin Output Level */
	HAL_GPIO_WritePin(GPIOB, USB_Power_Switch_On_Pin|Sky_On_Off_Sw_Pin, GPIO_PIN_SET);

	/*Configure GPIO pin Output Level */
	HAL_GPIO_WritePin(GPIOB, Buzzer_Pin|Charge_set_2_Pin|Cell_DVS_Pin, GPIO_PIN_RESET);

//	GPIO_InitTypeDef GPIO_InitStruct = {0};

//    GPIO_InitStruct.Pin = GPIO_PIN_0|GPIO_PIN_1;
//    GPIO_InitStruct.Mode = GPIO_MODE_AF_PP;
//    GPIO_InitStruct.Pull = GPIO_NOPULL;
//    GPIO_InitStruct.Speed = GPIO_SPEED_FREQ_LOW;
//	HAL_GPIO_Init(GPIOA, &GPIO_InitStruct);  // Assuming you're using GPIOA, adjust as necessary

	GPIO_InitStruct.Pin = INT1_Pin;
	GPIO_InitStruct.Mode = GPIO_MODE_IT_RISING;  // Or as needed (IT_RISING, IT_FALLING, etc.)
	GPIO_InitStruct.Pull = GPIO_NOPULL;  // Or GPIO_PULLDOWN if needed
 //   GPIO_InitStruct.Speed = GPIO_SPEED_FREQ_LOW;
	HAL_GPIO_Init(GPIOA, &GPIO_InitStruct);  // Assuming you're using GPIOA, adjust as necessary
	/*Configure GPIO pin : INT2_Pin */
	GPIO_InitStruct.Pin = INT2_Pin;
	GPIO_InitStruct.Mode = GPIO_MODE_IT_RISING;
	GPIO_InitStruct.Pull = GPIO_NOPULL;
	HAL_GPIO_Init(INT2_GPIO_Port, &GPIO_InitStruct);

	/*Configure GPIO pins : SD_CS_Pin Sky_Reset_Pin Charge_Disable_Pin Cell_Enable_Pin
                           USB_Power_Enable_Pin Backup_Charge_Enable_Pin */
	GPIO_InitStruct.Pin = SD_CS_Pin|Sky_Reset_Pin|Charge_Disable_Pin|Cell_Enable_Pin
			|USB_Power_Enable_Pin|Backup_Charge_Enable_Pin;
	GPIO_InitStruct.Mode = GPIO_MODE_OUTPUT_PP;
	GPIO_InitStruct.Pull = GPIO_NOPULL;
	GPIO_InitStruct.Speed = GPIO_SPEED_FREQ_LOW;
	HAL_GPIO_Init(GPIOC, &GPIO_InitStruct);

	/*Configure GPIO pin : Sky_Status_Pin */
	GPIO_InitStruct.Pin = Sky_Status_Pin;
	GPIO_InitStruct.Mode = GPIO_MODE_INPUT;
	GPIO_InitStruct.Pull = GPIO_NOPULL;
	HAL_GPIO_Init(Sky_Status_GPIO_Port, &GPIO_InitStruct);

	/*Configure GPIO pin : USB_Power_Good_Pin */
	GPIO_InitStruct.Pin = USB_Power_Good_Pin;
	GPIO_InitStruct.Mode = GPIO_MODE_INPUT;
	GPIO_InitStruct.Pull = GPIO_NOPULL;
	HAL_GPIO_Init(USB_Power_Good_GPIO_Port, &GPIO_InitStruct);

	/*Configure GPIO pin : MEM_CS_Pin */
	GPIO_InitStruct.Pin = MEM_CS_Pin;
	GPIO_InitStruct.Mode = GPIO_MODE_OUTPUT_PP;
	GPIO_InitStruct.Pull = GPIO_NOPULL;
	GPIO_InitStruct.Speed = GPIO_SPEED_FREQ_VERY_HIGH;
	HAL_GPIO_Init(MEM_CS_GPIO_Port, &GPIO_InitStruct);

	/*Configure GPIO pin : Charge_set_1_Pin */
	GPIO_InitStruct.Pin = Charge_set_1_Pin;
	GPIO_InitStruct.Mode = GPIO_MODE_OUTPUT_OD;
	GPIO_InitStruct.Pull = GPIO_NOPULL;
	GPIO_InitStruct.Speed = GPIO_SPEED_FREQ_LOW;
	HAL_GPIO_Init(Charge_set_1_GPIO_Port, &GPIO_InitStruct);

	/*Configure GPIO pin : BPS_CE_Pin */
	GPIO_InitStruct.Pin = BPS_CE_Pin;
	GPIO_InitStruct.Mode = GPIO_MODE_OUTPUT_PP;
	GPIO_InitStruct.Pull = GPIO_PULLDOWN;
	GPIO_InitStruct.Speed = GPIO_SPEED_FREQ_LOW;
	HAL_GPIO_Init(BPS_CE_GPIO_Port, &GPIO_InitStruct);

	/*Configure GPIO pin : USB_Power_Switch_On_Pin */
	GPIO_InitStruct.Pin = USB_Power_Switch_On_Pin;
	GPIO_InitStruct.Mode = GPIO_MODE_OUTPUT_PP;
	GPIO_InitStruct.Pull = GPIO_PULLDOWN;
	GPIO_InitStruct.Speed = GPIO_SPEED_FREQ_LOW;
	HAL_GPIO_Init(USB_Power_Switch_On_GPIO_Port, &GPIO_InitStruct);

	/*Configure GPIO pin : Buzzer_Pin */
	GPIO_InitStruct.Pin = Buzzer_Pin;
	GPIO_InitStruct.Mode = GPIO_MODE_OUTPUT_PP;
	GPIO_InitStruct.Pull = GPIO_NOPULL;
	GPIO_InitStruct.Speed = GPIO_SPEED_FREQ_MEDIUM;
	HAL_GPIO_Init(Buzzer_GPIO_Port, &GPIO_InitStruct);

	/*Configure GPIO pin : Charge_set_2_Pin */
	GPIO_InitStruct.Pin = Charge_set_2_Pin;
	GPIO_InitStruct.Mode = GPIO_MODE_OUTPUT_OD;
	GPIO_InitStruct.Pull = GPIO_NOPULL;
	GPIO_InitStruct.Speed = GPIO_SPEED_FREQ_LOW;
	HAL_GPIO_Init(Charge_set_2_GPIO_Port, &GPIO_InitStruct);

	/*Configure GPIO pin : Camera_CS_Pin */
	GPIO_InitStruct.Pin = Camera_CS_Pin;
	GPIO_InitStruct.Mode = GPIO_MODE_OUTPUT_PP;
	GPIO_InitStruct.Pull = GPIO_NOPULL;
	GPIO_InitStruct.Speed = GPIO_SPEED_FREQ_HIGH;
	HAL_GPIO_Init(Camera_CS_GPIO_Port, &GPIO_InitStruct);

	/*Configure GPIO pin : Cell_Power_Good_Pin */
	GPIO_InitStruct.Pin = Cell_Power_Good_Pin;
	GPIO_InitStruct.Mode = GPIO_MODE_INPUT;
	GPIO_InitStruct.Pull = GPIO_PULLUP;
	HAL_GPIO_Init(Cell_Power_Good_GPIO_Port, &GPIO_InitStruct);

	/*Configure GPIO pin : Camera_Enable_Pin */
	GPIO_InitStruct.Pin = Camera_Enable_Pin;
	GPIO_InitStruct.Mode = GPIO_MODE_OUTPUT_PP;
	GPIO_InitStruct.Pull = GPIO_NOPULL;
	GPIO_InitStruct.Speed = GPIO_SPEED_FREQ_LOW;
	HAL_GPIO_Init(Camera_Enable_GPIO_Port, &GPIO_InitStruct);

	/*Configure GPIO pin : USB_OverCurrent_Pin */
	GPIO_InitStruct.Pin = USB_OverCurrent_Pin;
	GPIO_InitStruct.Mode = GPIO_MODE_IT_FALLING;
	GPIO_InitStruct.Pull = GPIO_PULLUP;
	HAL_GPIO_Init(USB_OverCurrent_GPIO_Port, &GPIO_InitStruct);

	/*Configure GPIO pins : Sky_On_Off_Sw_Pin Cell_DVS_Pin */
	GPIO_InitStruct.Pin = Sky_On_Off_Sw_Pin|Cell_DVS_Pin;
	GPIO_InitStruct.Mode = GPIO_MODE_OUTPUT_PP;
	GPIO_InitStruct.Pull = GPIO_NOPULL;
	GPIO_InitStruct.Speed = GPIO_SPEED_FREQ_LOW;
	HAL_GPIO_Init(GPIOB, &GPIO_InitStruct);

	/*Configure GPIO pin : nExt_Power_Pin */
	GPIO_InitStruct.Pin = nExt_Power_Pin;
	GPIO_InitStruct.Mode = GPIO_MODE_INPUT;
	GPIO_InitStruct.Pull = GPIO_NOPULL;
	HAL_GPIO_Init(nExt_Power_GPIO_Port, &GPIO_InitStruct);

	/**/
	__HAL_SYSCFG_FASTMODEPLUS_ENABLE(SYSCFG_FASTMODEPLUS_PB9);

	/* EXTI interrupt init*/
	HAL_NVIC_SetPriority(EXTI2_IRQn, 0, 0);
	HAL_NVIC_EnableIRQ(EXTI2_IRQn);

	HAL_NVIC_SetPriority(EXTI6_IRQn, 0, 0);
	HAL_NVIC_EnableIRQ(EXTI6_IRQn);

	HAL_NVIC_SetPriority(EXTI13_IRQn, 0, 0);
	HAL_NVIC_EnableIRQ(EXTI13_IRQn);

	/* USER CODE BEGIN MX_GPIO_Init_2 */
	cameraPower = true;
	/* USER CODE END MX_GPIO_Init_2 */
}

/* USER CODE BEGIN 4 */
int  buildMesTester ( char *outputBuff , char *inputBuff )
{
	int messageCounter = 0;
	if ( *(inputBuff) == '\1' )
	{
		messageCounter = 0;
		inputBuff++;
	}

	if ( messageCounter >= 0 )
	{
		while ( *(inputBuff) != '\0' )
		{
			outputBuff [ messageCounter ] = *(inputBuff)++;
			messageCounter += 1;
		}
	}
	return messageCounter;
}

void handleFaults(void)
{
	XPS_paramStore(&memory);
	saveParamDataToFlash(&memory);
}
/* USER CODE END 4 */

void Error_Handler(void)
{
	/* USER CODE BEGIN Error_Handler_Debug */
	/* User can add his own implementation to report the HAL error return state */

	Log_Single ( "\1 ERROR HANDLE \n\r\0" );
	//GAV take out disable IRQ
	__disable_irq ();
	while (1)
	{
	}
	/* USER CODE END Error_Handler_Debug */
}
